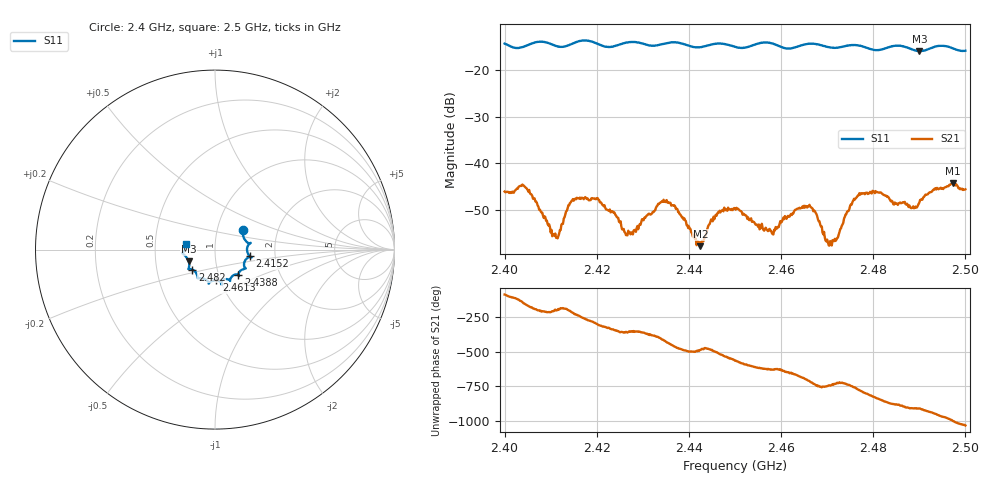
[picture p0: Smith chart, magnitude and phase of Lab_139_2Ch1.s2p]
# Hz S RI R 50
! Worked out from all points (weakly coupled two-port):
!   601 points, 2.4 GHz to 2.5 GHz, reference 50 ohm
!   highest |S21| = -44.22 dB at 2.4973 GHz (marker M1); lowest = -57.8 dB at 2.4425 GHz (marker M2)
!   lowest |S11| = -15.9 dB at 2.49 GHz (marker M3), VSWR 1.38, Z = 36.9 - j4.88 ohm
!   |S11| at or under -10 dB: start of sweep to end of sweep
!   S12 and S22 are empty: the file has one direction only
!   S11 on the Smith chart (normalised r, x): 2.4 GHz: 1.33, +0.31; 2.4152 GHz: 1.48, -0.12; 2.4388 GHz: 1.24, -0.36; 2.4613 GHz: 0.96, -0.34; 2.482 GHz: 0.76, -0.17; 2.5 GHz: 0.72, +0.05
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2.4e9  0.158 0.1119  0.000332 -0.00497  0 0  0 0
2.404333e9  0.1751 0.0442  -0.005 -0.00263  0 0  0 0
2.411e9  0.1824 0.02  -0.0017 0.000466  0 0  0 0
2.415167e9  0.1937 -0.0375  -0.00273 0.00306  0 0  0 0
2.416667e9  0.2034 -0.0441  -0.00142 0.00402  0 0  0 0
2.4205e9  0.184 -0.045  0.00252 0.00317  0 0  0 0
2.426833e9  0.1705 -0.1044  0.00189 6.94e-05  0 0  0 0
2.433333e9  0.1324 -0.1314  0.00305 -0.00205  0 0  0 0
2.438833e9  0.1297 -0.1407  -0.00155 -0.00196  0 0  0 0
2.4425e9  0.0947 -0.1494  -0.000778 -0.00103  0 0  0 0
2.446167e9  0.0843 -0.1743  -0.00244 -0.00155  0 0  0 0
2.45e9  0.0688 -0.1649  -0.00296 0.00144  0 0  0 0
2.457833e9  0.0382 -0.192  -3.54e-05 0.00189  0 0  0 0
2.461333e9  0.00763 -0.171  0.000929 0.0025  0 0  0 0
2.466667e9  -0.0349 -0.1901  0.00332 -0.000244  0 0  0 0
2.470667e9  -0.0501 -0.1683  0.00131 -0.00066  0 0  0 0
2.4765e9  -0.0961 -0.1591  0.00273 -0.00344  0 0  0 0
2.482e9  -0.1256 -0.1116  -0.00336 -0.00328  0 0  0 0
2.483333e9  -0.1394 -0.1088  -0.00381 -0.002  0 0  0 0
2.49e9  -0.147 -0.0644  -0.00368 0.000866  0 0  0 0
2.497333e9  -0.1715 -0.00797  0.00153 0.00596  0 0  0 0
2.5e9  -0.1589 0.0324  0.00377 0.00366  0 0  0 0
